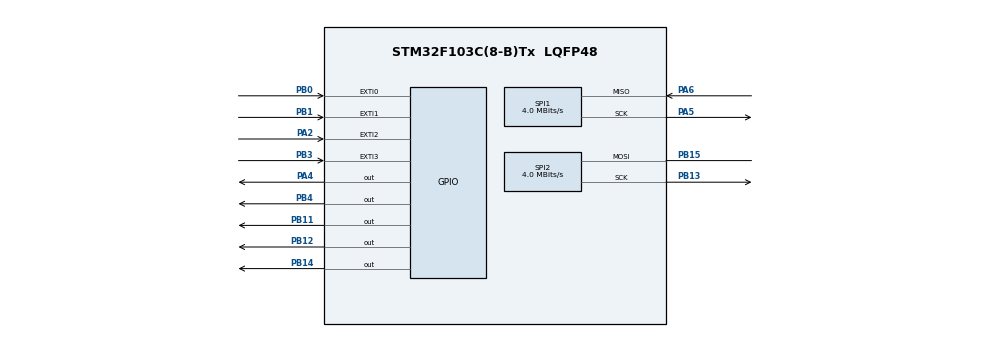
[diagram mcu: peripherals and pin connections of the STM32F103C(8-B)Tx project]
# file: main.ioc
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Mcu.Family=STM32F1
Mcu.Name=STM32F103C(8-B)Tx
Mcu.Package=LQFP48
NVIC.EXTI0_IRQn=true\:0\:0\:false\:false\:true\:true
NVIC.EXTI1_IRQn=true\:0\:0\:false\:false\:true\:true
NVIC.EXTI2_IRQn=true\:0\:0\:false\:false\:true\:true
NVIC.EXTI3_IRQn=true\:0\:0\:false\:false\:true\:true
NVIC.PriorityGroup=NVIC_PRIORITYGROUP_4
PA13.Mode=Serial_Wire
PA13.Signal=SYS_JTMS-SWDIO
PA14.Mode=Serial_Wire
PA14.Signal=SYS_JTCK-SWCLK
PA2.Signal=GPXTI2
PA4.Signal=GPIO_Output
PA5.Mode=RX_Only_Simplex_Unidirect_Master
PA5.Signal=SPI1_SCK
PA6.Mode=RX_Only_Simplex_Unidirect_Master
PA6.Signal=SPI1_MISO
PB0.Signal=GPXTI0
PB1.Signal=GPXTI1
PB11.Signal=GPIO_Output
PB12.Signal=GPIO_Output
PB13.Mode=Simplex_Bidirectional_Master
PB13.Signal=SPI2_SCK
PB14.Signal=GPIO_Output
PB15.Mode=Simplex_Bidirectional_Master
PB15.Signal=SPI2_MOSI
PB3.Signal=GPXTI3
PB4.Signal=GPIO_Output
ProjectManager.HeapSize=0x200
ProjectManager.StackSize=0x400
ProjectManager.TargetToolchain=Makefile
RCC.APB1Freq_Value=8000000
RCC.APB2Freq_Value=8000000
SPI1.BaudRatePrescaler=SPI_BAUDRATEPRESCALER_2
SPI1.CalculateBaudRate=4.0 MBits/s
SPI1.Direction=SPI_DIRECTION_2LINES_RXONLY
SPI1.Mode=SPI_MODE_MASTER
SPI1.VirtualType=VM_MASTER
SPI2.CalculateBaudRate=4.0 MBits/s
SPI2.Direction=SPI_DIRECTION_1LINE
SPI2.Mode=SPI_MODE_MASTER
SPI2.VirtualType=VM_MASTER
board=main

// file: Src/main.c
#include "main.h"
#include "stm32f1xx_hal.h"

/* USER CODE BEGIN Includes */
/* vim: set ai et ts=4 sw=4: */
#include "st7735.h"
#include <stdbool.h>
/* USER CODE END Includes */

SPI_HandleTypeDef hspi1;
SPI_HandleTypeDef hspi2;

/* USER CODE BEGIN PV */
/* Private variables ---------------------------------------------------------*/

/* USER CODE END PV */

void SystemClock_Config(void);
static void MX_GPIO_Init(void);
static void MX_SPI2_Init(void);
static void MX_SPI1_Init(void);

/* USER CODE BEGIN PFP */
/* Private function prototypes -----------------------------------------------*/

/* USER CODE END PFP */

volatile static bool allowEdit = false; // TODO: support dynamic change
volatile static uint32_t lastPress = 0;
volatile static uint32_t globTargetTemp = 45;
volatile static uint32_t globDelta = 2;

#define START_DELAY 10000 // wait 10 seconds after start before doing anything
static uint32_t start;

static uint32_t avg_temp_buff[16] = { 0 };
static int avg_temp_buff_idx = 0;
static bool switchOn = false;

/* USER CODE BEGIN 0 */
void init() {
    start = HAL_GetTick();

	ST7735_Init();
    ST7735_FillScreen(ST7735_BLACK);
}

void loop() {
    for(int i = 0; i < 25; i++) {
        HAL_StatusTypeDef res;
        uint32_t temperature = 0;
        uint8_t max6675_data[2] = {0};
        char buff[256];

        HAL_GPIO_WritePin(GPIOA, GPIO_PIN_4, GPIO_PIN_RESET); // CS = LOW
        res = HAL_SPI_Receive(&hspi1, max6675_data, sizeof(max6675_data), HAL_MAX_DELAY);
        HAL_GPIO_WritePin(GPIOA, GPIO_PIN_4, GPIO_PIN_SET); // CS = HIGH
        if(res == HAL_OK) {
            temperature = (((uint32_t)max6675_data[0]) << 5) | (((uint32_t)max6675_data[1]) >> 3);
            temperature /= 4;
        }

        int nitems = sizeof(avg_temp_buff) / sizeof(avg_temp_buff[0]);
        avg_temp_buff[avg_temp_buff_idx] = temperature;
        avg_temp_buff_idx++;
        if(avg_temp_buff_idx == nitems)
            avg_temp_buff_idx = 0;

        temperature = 0;
        for(int i = 0; i < nitems; i++) {
            temperature += avg_temp_buff[i];
        }
        temperature /= nitems;

        if(temperature >= globTargetTemp + globDelta) {
            switchOn = false;
        } else if((temperature < globTargetTemp - globDelta) && (HAL_GetTick() - start > START_DELAY)) {
            switchOn = true;
        } // else - do nothing, hysteresis

        snprintf(buff, sizeof(buff), "Temp.:  %03ld", temperature);
        ST7735_WriteString(0, 18*0, buff, Font_11x18, ST7735_WHITE, ST7735_BLACK);
        snprintf(buff, sizeof(buff), "Targ.:  %03ld", globTargetTemp);
        ST7735_WriteString(0, 18*1, buff, Font_11x18, ST7735_WHITE, ST7735_BLACK);
        snprintf(buff, sizeof(buff), "Delta:  %03ld", globDelta);
        ST7735_WriteString(0, 18*2, buff, Font_11x18, ST7735_WHITE, ST7735_BLACK);
        ST7735_WriteString(0, 18*3, "Switch:", Font_11x18, ST7735_WHITE, ST7735_BLACK);
        if(switchOn) {
            HAL_GPIO_WritePin(GPIOB, GPIO_PIN_4, GPIO_PIN_SET);
            ST7735_WriteString(11*8, 18*3, " ON", Font_11x18, ST7735_GREEN, ST7735_BLACK);
        } else {
            HAL_GPIO_WritePin(GPIOB, GPIO_PIN_4, GPIO_PIN_RESET);
            ST7735_WriteString(11*8, 18*3, "OFF", Font_11x18, ST7735_RED, ST7735_BLACK);
        }

        snprintf(buff, sizeof(buff), "MAX6675: %02X %02X", max6675_data[0], max6675_data[1]);
        ST7735_WriteString(0, 128-10*2, buff, Font_7x10, ST7735_COLOR565(64, 64, 64*3), ST7735_BLACK);
        snprintf(buff, sizeof(buff), "Edit:    %s", allowEdit ? " on" : "off");
        ST7735_WriteString(0, 128-10*1, buff, Font_7x10, ST7735_COLOR565(64, 64, 64*3), ST7735_BLACK);

        HAL_Delay(100);
    }
}

void HAL_GPIO_EXTI_Callback(uint16_t GPIO_Pin) {
    if(!allowEdit)
        return;

    uint32_t tstamp = HAL_GetTick();
    if(tstamp - lastPress < 200)
        return;

    if(GPIO_Pin == GPIO_PIN_0) {
        if(globDelta > 1) globDelta--;
        lastPress = tstamp;
    } else if(GPIO_Pin == GPIO_PIN_1) {
        if(globDelta < 10) globDelta++;
        lastPress = tstamp;
    } else if(GPIO_Pin == GPIO_PIN_2) {
        if(globTargetTemp > 15) globTargetTemp--;
        lastPress = tstamp;
    } else if(GPIO_Pin == GPIO_PIN_3) {
        if(globTargetTemp < 100) globTargetTemp++;
        lastPress = tstamp;
    }
}

/* USER CODE END 0 */

int main(void)
{

  /* MCU Configuration----------------------------------------------------------*/

  /* Reset of all peripherals, Initializes the Flash interface and the Systick. */
  HAL_Init();

  /* Configure the system clock */
  SystemClock_Config();

  /* Initialize all configured peripherals */
  MX_GPIO_Init();
  MX_SPI2_Init();
  MX_SPI1_Init();

  /* Infinite loop */
  /* USER CODE BEGIN WHILE */
  init();
  while (1)
  {
    loop();
  /* USER CODE END WHILE */

  }

}

/** System Clock Configuration
*/
void SystemClock_Config(void)
{

  RCC_OscInitTypeDef RCC_OscInitStruct;
  RCC_ClkInitTypeDef RCC_ClkInitStruct;

    /**Initializes the CPU, AHB and APB busses clocks
    */
  RCC_OscInitStruct.OscillatorType = RCC_OSCILLATORTYPE_HSI;
  RCC_OscInitStruct.HSIState = RCC_HSI_ON;
  RCC_OscInitStruct.HSICalibrationValue = 16;
  RCC_OscInitStruct.PLL.PLLState = RCC_PLL_NONE;
  if (HAL_RCC_OscConfig(&RCC_OscInitStruct) != HAL_OK)
  {
    _Error_Handler(__FILE__, __LINE__);
  }

    /**Initializes the CPU, AHB and APB busses clocks
    */
  RCC_ClkInitStruct.ClockType = RCC_CLOCKTYPE_HCLK|RCC_CLOCKTYPE_SYSCLK
                              |RCC_CLOCKTYPE_PCLK1|RCC_CLOCKTYPE_PCLK2;
  RCC_ClkInitStruct.SYSCLKSource = RCC_SYSCLKSOURCE_HSI;
  RCC_ClkInitStruct.AHBCLKDivider = RCC_SYSCLK_DIV1;
  RCC_ClkInitStruct.APB1CLKDivider = RCC_HCLK_DIV1;
  RCC_ClkInitStruct.APB2CLKDivider = RCC_HCLK_DIV1;

  if (HAL_RCC_ClockConfig(&RCC_ClkInitStruct, FLASH_LATENCY_0) != HAL_OK)
  {
    _Error_Handler(__FILE__, __LINE__);
  }

    /**Configure the Systick interrupt time
    */
  HAL_SYSTICK_Config(HAL_RCC_GetHCLKFreq()/1000);

    /**Configure the Systick
    */
  HAL_SYSTICK_CLKSourceConfig(SYSTICK_CLKSOURCE_HCLK);

  /* SysTick_IRQn interrupt configuration */
  HAL_NVIC_SetPriority(SysTick_IRQn, 0, 0);
}

/* SPI1 init function */
static void MX_SPI1_Init(void)
{

  /* SPI1 parameter configuration*/
  hspi1.Instance = SPI1;
  hspi1.Init.Mode = SPI_MODE_MASTER;
  hspi1.Init.Direction = SPI_DIRECTION_2LINES_RXONLY;
  hspi1.Init.DataSize = SPI_DATASIZE_8BIT;
  hspi1.Init.CLKPolarity = SPI_POLARITY_LOW;
  hspi1.Init.CLKPhase = SPI_PHASE_1EDGE;
  hspi1.Init.NSS = SPI_NSS_SOFT;
  hspi1.Init.BaudRatePrescaler = SPI_BAUDRATEPRESCALER_2;
  hspi1.Init.FirstBit = SPI_FIRSTBIT_MSB;
  hspi1.Init.TIMode = SPI_TIMODE_DISABLE;
  hspi1.Init.CRCCalculation = SPI_CRCCALCULATION_DISABLE;
  hspi1.Init.CRCPolynomial = 10;
  if (HAL_SPI_Init(&hspi1) != HAL_OK)
  {
    _Error_Handler(__FILE__, __LINE__);
  }

}

/* SPI2 init function */
static void MX_SPI2_Init(void)
{

  /* SPI2 parameter configuration*/
  hspi2.Instance = SPI2;
  hspi2.Init.Mode = SPI_MODE_MASTER;
  hspi2.Init.Direction = SPI_DIRECTION_1LINE;
  hspi2.Init.DataSize = SPI_DATASIZE_8BIT;
  hspi2.Init.CLKPolarity = SPI_POLARITY_LOW;
  hspi2.Init.CLKPhase = SPI_PHASE_1EDGE;
  hspi2.Init.NSS = SPI_NSS_SOFT;
  hspi2.Init.BaudRatePrescaler = SPI_BAUDRATEPRESCALER_2;
  hspi2.Init.FirstBit = SPI_FIRSTBIT_MSB;
  hspi2.Init.TIMode = SPI_TIMODE_DISABLE;
  hspi2.Init.CRCCalculation = SPI_CRCCALCULATION_DISABLE;
  hspi2.Init.CRCPolynomial = 10;
  if (HAL_SPI_Init(&hspi2) != HAL_OK)
  {
    _Error_Handler(__FILE__, __LINE__);
  }

}

/** Configure pins as
        * Analog
        * Input
        * Output
        * EVENT_OUT
        * EXTI
*/
static void MX_GPIO_Init(void)
{

  GPIO_InitTypeDef GPIO_InitStruct;

  /* GPIO Ports Clock Enable */
  __HAL_RCC_GPIOA_CLK_ENABLE();
  __HAL_RCC_GPIOB_CLK_ENABLE();

  /*Configure GPIO pin Output Level */
  HAL_GPIO_WritePin(GPIOA, GPIO_PIN_4, GPIO_PIN_RESET);

  /*Configure GPIO pin Output Level */
  HAL_GPIO_WritePin(GPIOB, GPIO_PIN_11|GPIO_PIN_12|GPIO_PIN_14|GPIO_PIN_4, GPIO_PIN_RESET);

  /*Configure GPIO pin : PA2 */
  GPIO_InitStruct.Pin = GPIO_PIN_2;
  GPIO_InitStruct.Mode = GPIO_MODE_IT_RISING;
  GPIO_InitStruct.Pull = GPIO_NOPULL;
  HAL_GPIO_Init(GPIOA, &GPIO_InitStruct);

  /*Configure GPIO pin : PA4 */
  GPIO_InitStruct.Pin = GPIO_PIN_4;
  GPIO_InitStruct.Mode = GPIO_MODE_OUTPUT_PP;
  GPIO_InitStruct.Speed = GPIO_SPEED_FREQ_LOW;
  HAL_GPIO_Init(GPIOA, &GPIO_InitStruct);

  /*Configure GPIO pins : PB0 PB1 PB3 */
  GPIO_InitStruct.Pin = GPIO_PIN_0|GPIO_PIN_1|GPIO_PIN_3;
  GPIO_InitStruct.Mode = GPIO_MODE_IT_RISING;
  GPIO_InitStruct.Pull = GPIO_NOPULL;
  HAL_GPIO_Init(GPIOB, &GPIO_InitStruct);

  /*Configure GPIO pins : PB11 PB12 PB14 PB4 */
  GPIO_InitStruct.Pin = GPIO_PIN_11|GPIO_PIN_12|GPIO_PIN_14|GPIO_PIN_4;
  GPIO_InitStruct.Mode = GPIO_MODE_OUTPUT_PP;
  GPIO_InitStruct.Speed = GPIO_SPEED_FREQ_LOW;
  HAL_GPIO_Init(GPIOB, &GPIO_InitStruct);

  /* EXTI interrupt init*/
  HAL_NVIC_SetPriority(EXTI0_IRQn, 0, 0);
  HAL_NVIC_EnableIRQ(EXTI0_IRQn);

  HAL_NVIC_SetPriority(EXTI1_IRQn, 0, 0);
  HAL_NVIC_EnableIRQ(EXTI1_IRQn);

  HAL_NVIC_SetPriority(EXTI2_IRQn, 0, 0);
  HAL_NVIC_EnableIRQ(EXTI2_IRQn);

  HAL_NVIC_SetPriority(EXTI3_IRQn, 0, 0);
  HAL_NVIC_EnableIRQ(EXTI3_IRQn);

}

void _Error_Handler(char * file, int line)
{
  while(1)
  {
  }
}

/************************ (C) COPYRIGHT STMicroelectronics *****END OF FILE****/
